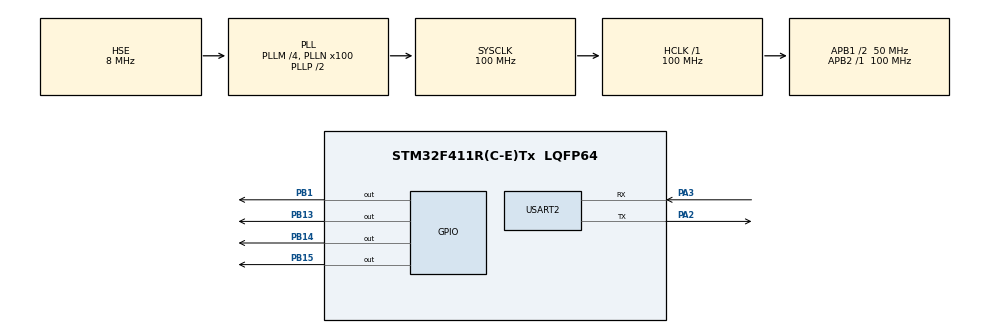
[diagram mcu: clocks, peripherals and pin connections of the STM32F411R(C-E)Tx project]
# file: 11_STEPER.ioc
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Mcu.Family=STM32F4
Mcu.Name=STM32F411R(C-E)Tx
Mcu.Package=LQFP64
NVIC.PriorityGroup=NVIC_PRIORITYGROUP_4
NVIC.USART2_IRQn=true\:0\:0\:false\:false\:true\:true\:true\:true
PA13.Mode=Serial_Wire
PA13.Signal=SYS_JTMS-SWDIO
PA14.Mode=Serial_Wire
PA14.Signal=SYS_JTCK-SWCLK
PA2.Mode=Asynchronous
PA2.Signal=USART2_TX
PA3.Mode=Asynchronous
PA3.Signal=USART2_RX
PB1.Signal=GPIO_Output
PB13.Signal=GPIO_Output
PB14.Signal=GPIO_Output
PB15.Signal=GPIO_Output
PH0\ -\ OSC_IN.Mode=HSE-External-Clock-Source
PH0\ -\ OSC_IN.Signal=RCC_OSC_IN
PH1\ -\ OSC_OUT.Mode=HSE-External-Clock-Source
PH1\ -\ OSC_OUT.Signal=RCC_OSC_OUT
ProjectManager.HeapSize=0x200
ProjectManager.StackSize=0x400
ProjectManager.TargetToolchain=STM32CubeIDE
RCC.48MHZClocksFreq_Value=50000000
RCC.AHBFreq_Value=100000000
RCC.APB1CLKDivider=RCC_HCLK_DIV2
RCC.APB1Freq_Value=50000000
RCC.APB1TimFreq_Value=100000000
RCC.APB2Freq_Value=100000000
RCC.APB2TimFreq_Value=100000000
RCC.CortexFreq_Value=100000000
RCC.HCLKFreq_Value=100000000
RCC.HSE_VALUE=8000000
RCC.HSI_VALUE=16000000
RCC.LSE_VALUE=32768
RCC.PLLM=4
RCC.PLLN=100
RCC.PLLSourceVirtual=RCC_PLLSOURCE_HSE
RCC.SYSCLKFreq_VALUE=100000000
RCC.SYSCLKSource=RCC_SYSCLKSOURCE_PLLCLK
RCC.VCOOutputFreq_Value=200000000
USART2.VirtualMode=VM_ASYNC
board=custom

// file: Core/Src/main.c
/* USER CODE BEGIN Header */
/**
  ******************************************************************************
  * @file           : main.c
  * @brief          : Main program body
  ******************************************************************************
  * @attention
  *
  * Copyright (c) 2026 STMicroelectronics.
  * All rights reserved.
  *
  * This software is licensed under terms that can be found in the LICENSE file
  * in the root directory of this software component.
  * If no LICENSE file comes with this software, it is provided AS-IS.
  *
  ******************************************************************************
  */
/* USER CODE END Header */
#include "main.h"
#include "usart.h"
#include "gpio.h"

/* USER CODE BEGIN Includes */
#include "steper.h"
#include "stdlib.h"
/* USER CODE END Includes */

/* USER CODE BEGIN PV */

uint8_t rxdata[4] ={0};
uint16_t rx_buffer ;
uint16_t data;
uint8_t sig = 0;
uint8_t rever_sig = 0;
/* USER CODE END PV */

void SystemClock_Config(void);

/* USER CODE BEGIN PFP */
void HAL_UART_RxCpltCallback(UART_HandleTypeDef *huart){
    rx_buffer= strtoul(rxdata, 0, 10 );
    data = (uint16_t)rx_buffer;
    if(data > 180 ){
        rever_sig =1 ;
    }
    else if (data < 180){
        sig = 1;
    }

    HAL_UART_Transmit(&huart2, rxdata, 3, 0xffff);
    HAL_UART_Receive_IT(&huart2, rxdata, 3);

}
/* USER CODE END PFP */

int main(void)
{

  /* MCU Configuration--------------------------------------------------------*/

  /* Reset of all peripherals, Initializes the Flash interface and the Systick. */
  HAL_Init();

  /* Configure the system clock */
  SystemClock_Config();

  /* Initialize all configured peripherals */
  MX_GPIO_Init();
  MX_USART2_UART_Init();
  /* USER CODE BEGIN 2 */
  //rotateDegrees(450, DIR_CW);

  HAL_UART_Receive_IT(&huart2, rxdata, 3);

  /* USER CODE END 2 */

  /* Infinite loop */
  /* USER CODE BEGIN WHILE */
  while (1)
  {
      if(sig ==1 ){
          rotateDegrees(data, DIR_CW);
          sig = 0;
      }
      else if(rever_sig == 1){
          rotateDegrees(data, DIR_CCW);
          rever_sig = 0;
      }
    /* USER CODE END WHILE */

  }
}

void SystemClock_Config(void)
{
  RCC_OscInitTypeDef RCC_OscInitStruct = {0};
  RCC_ClkInitTypeDef RCC_ClkInitStruct = {0};

  /** Configure the main internal regulator output voltage
  */
  __HAL_RCC_PWR_CLK_ENABLE();
  __HAL_PWR_VOLTAGESCALING_CONFIG(PWR_REGULATOR_VOLTAGE_SCALE1);

  /** Initializes the RCC Oscillators according to the specified parameters
  * in the RCC_OscInitTypeDef structure.
  */
  RCC_OscInitStruct.OscillatorType = RCC_OSCILLATORTYPE_HSE;
  RCC_OscInitStruct.HSEState = RCC_HSE_BYPASS;
  RCC_OscInitStruct.PLL.PLLState = RCC_PLL_ON;
  RCC_OscInitStruct.PLL.PLLSource = RCC_PLLSOURCE_HSE;
  RCC_OscInitStruct.PLL.PLLM = 4;
  RCC_OscInitStruct.PLL.PLLN = 100;
  RCC_OscInitStruct.PLL.PLLP = RCC_PLLP_DIV2;
  RCC_OscInitStruct.PLL.PLLQ = 4;
  if (HAL_RCC_OscConfig(&RCC_OscInitStruct) != HAL_OK)
  {
    Error_Handler();
  }

  /** Initializes the CPU, AHB and APB buses clocks
  */
  RCC_ClkInitStruct.ClockType = RCC_CLOCKTYPE_HCLK|RCC_CLOCKTYPE_SYSCLK
                              |RCC_CLOCKTYPE_PCLK1|RCC_CLOCKTYPE_PCLK2;
  RCC_ClkInitStruct.SYSCLKSource = RCC_SYSCLKSOURCE_PLLCLK;
  RCC_ClkInitStruct.AHBCLKDivider = RCC_SYSCLK_DIV1;
  RCC_ClkInitStruct.APB1CLKDivider = RCC_HCLK_DIV2;
  RCC_ClkInitStruct.APB2CLKDivider = RCC_HCLK_DIV1;

  if (HAL_RCC_ClockConfig(&RCC_ClkInitStruct, FLASH_LATENCY_3) != HAL_OK)
  {
    Error_Handler();
  }
}

void Error_Handler(void)
{
  __disable_irq();
  while (1)
  {
  }
}
